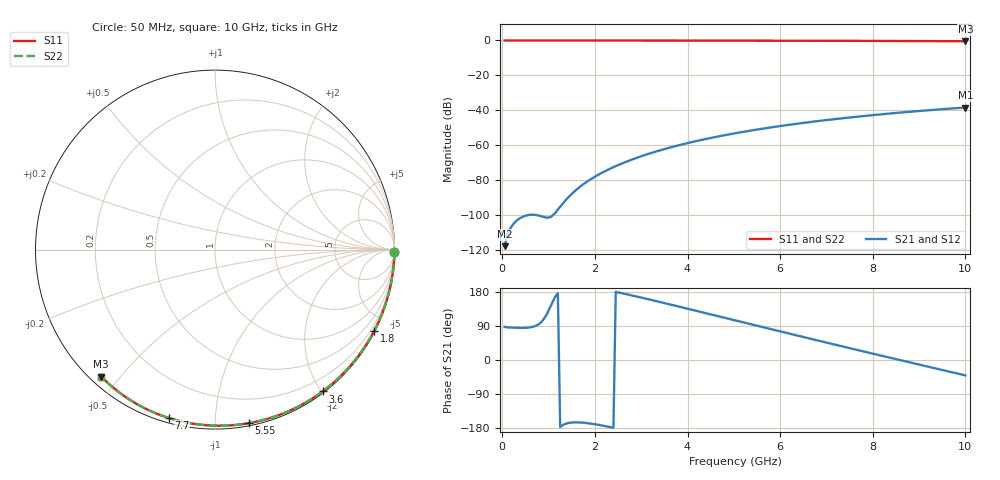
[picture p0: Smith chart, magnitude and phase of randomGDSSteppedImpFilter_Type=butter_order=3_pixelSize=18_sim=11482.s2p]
! freq	dB(S11)	phase(S11)	dB(S12)	phase(S12)
!  dB(S21)	phase(S21)	dB(S22)	phase(S22)
!S-par simulation data
#  GHz  S  DB  R 50
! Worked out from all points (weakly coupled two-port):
!   200 points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, 50 MHz to 10 GHz, reference 50 ohm
!   highest |S21| = -38.41 dB at 10 GHz (marker M1); lowest = -117.8 dB at 50 MHz (marker M2)
!   lowest |S11| = -0.4 dB at 10 GHz (marker M3), VSWR 39.02, Z = 1.54 - j22.3 ohm
!   |S11| at or under -10 dB: nowhere
!   |S22| runs from -0.4 to 0.0 dB; largest |S21 - S12| = 0
!   S11 on the Smith chart (normalised r, x): 50 MHz: open; 1.8 GHz: 0.04, -4.16; 3.6 GHz: 0.02, -2.01; 5.55 GHz: 0.02, -1.21; 7.7 GHz: 0.02, -0.76; 10 GHz: 0.03, -0.45
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0.05  -0.00 -0.8  -117.83 87.4  -117.83 87.4  -0.00 -0.8
0.9  -0.02 -13.6  -101.20 109.0  -101.20 109.0  -0.02 -13.6
1.75  -0.03 -26.3  -82.36 -165.5  -82.36 -165.5  -0.03 -26.3
1.8  -0.03 -27.0  -81.41 -166.1  -81.41 -166.1  -0.03 -27.0
1.85  -0.04 -27.8  -80.52 -166.8  -80.52 -166.8  -0.04 -27.8
1.9  -0.04 -28.5  -79.66 -167.7  -79.66 -167.7  -0.04 -28.5
2.05  -0.04 -30.7  -77.27 -170.6  -77.27 -170.6  -0.04 -30.7
2.25  -0.04 -33.6  -74.45 -175.1  -74.45 -175.1  -0.04 -33.6
2.45  -0.05 -36.5  -71.97 179.8  -71.97 179.8  -0.05 -36.5
2.65  -0.05 -39.4  -69.74 174.5  -69.74 174.5  -0.05 -39.4
3  -0.06 -44.4  -66.32 164.7  -66.32 164.7  -0.06 -44.4
3.4  -0.07 -50.1  -62.98 153.2  -62.98 153.2  -0.07 -50.1
3.6  -0.07 -52.8  -61.49 147.3  -61.49 147.3  -0.07 -52.8
4.3  -0.09 -62.5  -56.98 126.4  -56.98 126.4  -0.09 -62.4
5.05  -0.11 -72.4  -53.05 103.9  -53.05 103.9  -0.11 -72.4
5.55  -0.13 -78.9  -50.82 89.0  -50.82 89.0  -0.13 -78.9
6.1  -0.15 -85.9  -48.65 72.6  -48.65 72.6  -0.15 -85.9
6.7  -0.18 -93.4  -46.55 54.8  -46.55 54.8  -0.18 -93.4
7.7  -0.24 -105.4  -43.56 25.5  -43.56 25.5  -0.24 -105.4
8.35  -0.29 -113.0  -41.90 6.6  -41.90 6.6  -0.29 -113.0
9.15  -0.36 -122.2  -40.08 -16.3  -40.08 -16.3  -0.36 -122.2
10  -0.45 -131.9  -38.41 -40.6  -38.41 -40.6  -0.45 -131.8
